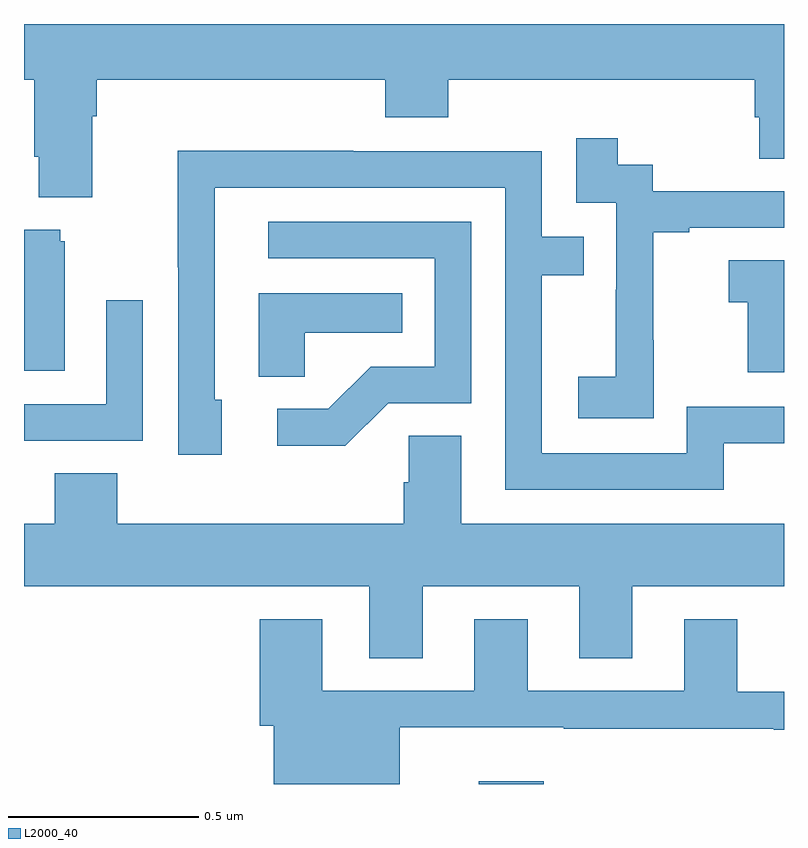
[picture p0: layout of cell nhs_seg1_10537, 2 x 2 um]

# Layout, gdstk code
import gdstk
lib = gdstk.Library(unit=1e-6, precision=1e-09)
def R(c, l, rs):  # rectangles x0, y0, x1, y1
    for r in rs: c.add(gdstk.rectangle(r[:2], r[2:], *l))
def P(c, l, *ps):  # polygons
    for p in ps: c.add(gdstk.Polygon(p, *l))
L2000_40 = (2000, 40)

nhs_seg1_10537 = lib.new_cell('nhs_seg1_10537')
R(nhs_seg1_10537, L2000_40, [(243.197,563.199,243.368,563.206)])
P(nhs_seg1_10537, L2000_40, [(242.179,564.956),(242.192,564.956),(242.192,565.052),(242.951,565.052),(242.951,564.953),(243.116,564.953),(243.116,565.052),(243.923,565.052),(243.923,564.954),(243.935,564.954),(243.935,564.844),(244,564.844),(244,565.199),(242,565.199),(242,565.052),(242.027,565.052),(242.027,564.85),(242.039,564.85),(242.039,564.743),(242.179,564.743)],
  [(243.657,564.367),(243.656,564.367),(243.656,564.651),(243.751,564.651),(243.751,564.663),(244,564.663),(244,564.759),(243.654,564.759),(243.654,564.828),(243.562,564.828),(243.562,564.898),(243.453,564.898),(243.453,564.729),(243.558,564.729),(243.558,564.5),(243.557,564.5),(243.557,564.271),(243.459,564.271),(243.459,564.161),(243.657,564.161)],
  [(243.841,564.096),(244,564.096),(244,564.192),(243.744,564.192),(243.744,564.069),(243.363,564.069),(243.363,564.538),(243.473,564.538),(243.473,564.639),(243.363,564.639),(243.363,564.864),(242.867,564.864),(242.867,564.866),(242.404,564.866),(242.404,564.559),(242.406,564.559),(242.406,564.066),(242.521,564.066),(242.521,564.21),(242.502,564.21),(242.502,564.768),(243.267,564.768),(243.267,563.973),(243.841,563.973)],
  [(242.958,564.201),(243.177,564.201),(243.177,564.678),(242.643,564.678),(242.643,564.582),(243.081,564.582),(243.081,564.297),(242.912,564.297),(242.801,564.186),(242.667,564.186),(242.667,564.089),(242.845,564.089)],
  [(242.107,564.627),(242.096,564.627),(242.096,564.658),(242,564.658),(242,564.287),(242.107,564.287)],
  [(244,564.577),(243.855,564.577),(243.855,564.467),(243.904,564.467),(243.904,564.282),(244,564.282)],
  [(242.739,564.386),(242.996,564.386),(242.996,564.49),(242.618,564.49),(242.618,564.271),(242.739,564.271)],
  [(242.313,564.472),(242.217,564.472),(242.217,564.198),(242,564.198),(242,564.102),(242.313,564.102)],
  [(243.012,564.116),(243.012,563.993),(242.999,563.993),(242.999,563.884),(242.246,563.884),(242.246,564.017),(242.081,564.017),(242.081,563.884),(242,563.884),(242,563.72),(242.909,563.72),(242.909,563.53),(243.049,563.53),(243.049,563.72),(243.461,563.72),(243.461,563.53),(243.601,563.53),(243.601,563.72),(244,563.72),(244,563.884),(243.151,563.884),(243.151,564.116)],
  [(242.989,563.348),(243.421,563.348),(243.421,563.344),(243.973,563.344),(243.973,563.342),(244,563.342),(244,563.442),(243.877,563.442),(243.877,563.632),(243.737,563.632),(243.737,563.445),(243.325,563.445),(243.325,563.632),(243.185,563.632),(243.185,563.445),(242.785,563.445),(242.785,563.632),(242.621,563.632),(242.621,563.352),(242.657,563.352),(242.657,563.199),(242.989,563.199)])

lib.write_gds('nhs_seg1_10537.gds')
